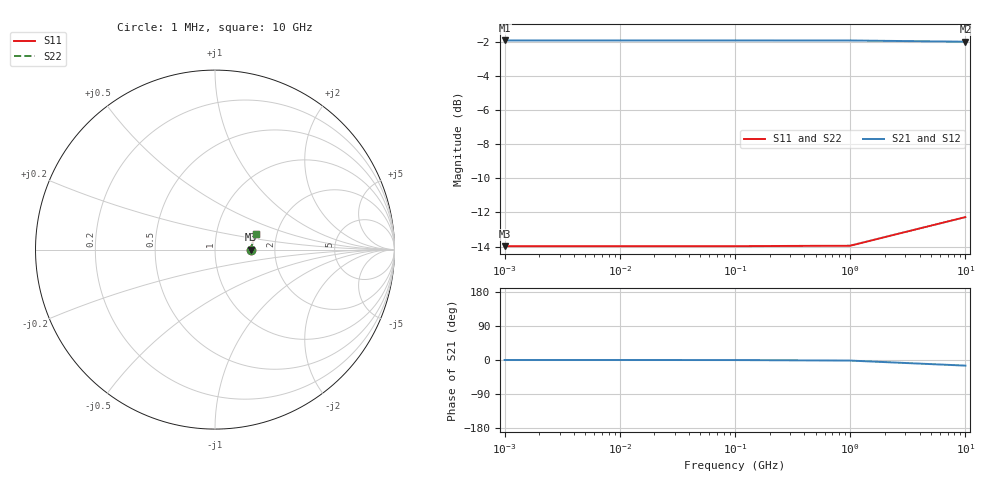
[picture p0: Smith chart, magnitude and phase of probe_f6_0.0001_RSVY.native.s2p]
! Sonnet Data File
! From: em Version : 18.53-Lite
! From Project: probe_f6_0.0001_RSVY
! Data is NOT De-embedded
! Data File Written: 10/12/2026 10:38:26
!< HDATE 10/12/2026 10:38:26
!< MDATE 10/12/2026 10:38:26
# GHZ S RI R 50.00000
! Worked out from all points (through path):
!   5 points, 1 MHz to 10 GHz, reference 50 ohm
!   highest |S21| = -1.94 dB at 1 MHz (marker M1); lowest = -2.0 dB at 10 GHz (marker M2)
!   lowest |S11| = -14.0 dB at 1 MHz (marker M3), VSWR 1.50, Z = 75 + j0.00155 ohm
!   |S11| at or under -10 dB: start of sweep to end of sweep
!   |S22| runs from -14.0 to -12.3 dB; largest |S21 - S12| = 2.2e-11
0.001  0.2 9.89e-06  0.8 -2.13e-05  0.8 -2.13e-05  0.2 9.89e-06
0.01  0.2 9.83e-05  0.8 -0.000212  0.8 -0.000212  0.2 9.83e-05
0.1  0.2001 0.000978  0.7999 -0.00212  0.7999 -0.00212  0.2001 0.000978
1  0.2005 0.00958  0.7995 -0.021  0.7995 -0.021  0.2005 0.00958
10  0.2266 0.0888  0.7669 -0.203  0.7669 -0.203  0.2266 0.0888
